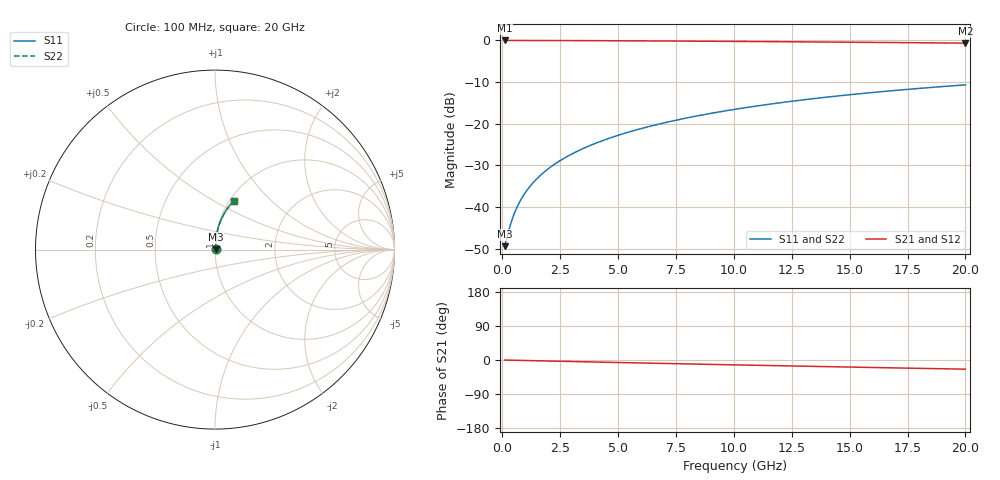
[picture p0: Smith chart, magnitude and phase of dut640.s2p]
! Touchstone file exported from HFSS 2024.1.0
!  File:  C:/UserFiles/LocalFiles/RDL_TSV_Batchsim/temp_RDL_top_640_1779780949.aedt
!  Generated:  03:38:02 PM May 26, 2026
!  Design:  RDL_top
!  Project:  temp_RDL_top_640_1779780949
!  Setup:  Setup1
!  Solution:  Sweep
! Variables:
!  dtsv = 10.80580581um
!  hbump = 3um
!  htsv = 81.32um
!  ldown = 100um
!  lrdl = 268.48um
!  p = 40
!  p1 = 52.06um
!  rhole = 1um
!  t = 450um
!  tdown = 3.915915916um
!  trdl = 2.07um
!  wdown = 15.38538539um
!  wrdl = 16.94um
# GHz S MA R 50.000000
! Terminal data exported
! Port[1] = Box2_T1
! Port[2] = Box2_T2
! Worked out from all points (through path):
!   200 points, 100 MHz to 20 GHz, reference 50 ohm
!   highest |S21| = -0.03 dB at 100 MHz (marker M1); lowest = -0.7 dB at 20 GHz (marker M2)
!   group delay of S21, straight-line fit = 3.35 ps
!   lowest |S11| = -49.4 dB at 100 MHz (marker M3), VSWR 1.01, Z = 50.3 + j0.152 ohm
!   |S11| at or under -10 dB: start of sweep to end of sweep
!   |S22| runs from -49.4 to -10.7 dB; largest |S21 - S12| = 4.3e-15
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0.1  0.003397 26.4  0.997 -0.1  0.997 -0.1  0.003397 26.4
! Gamma 0 0 0 0
! Port Impedance 50 0 50 0
0.3  0.005487 55.1  0.9968 -0.4  0.9968 -0.4  0.005487 55.1
0.4  0.006779 61.8  0.9968 -0.6  0.9968 -0.6  0.006779 61.8
0.5  0.008121 66.2  0.9967 -0.7  0.9967 -0.7  0.008121 66.2
0.6  0.009484 69.3  0.9966 -0.8  0.9966 -0.8  0.009484 69.3
0.7  0.01086 71.6  0.9965 -1.0  0.9965 -1.0  0.01086 71.6
0.9  0.01362 74.8  0.9963 -1.2  0.9963 -1.2  0.01362 74.8
1.2  0.01778 77.8  0.9959 -1.6  0.9959 -1.6  0.01778 77.8
1.4  0.02057 79.1  0.9957 -1.9  0.9957 -1.9  0.02057 79.1
1.7  0.02478 80.6  0.9953 -2.3  0.9953 -2.3  0.02478 80.6
2.2  0.03185 82.0  0.9947 -3.0  0.9947 -3.0  0.03185 82.0
2.8  0.04042 83.0  0.9937 -3.8  0.9937 -3.8  0.04042 83.0
3.5  0.05053 83.6  0.9923 -4.7  0.9923 -4.7  0.05053 83.6
4.2  0.06074 83.8  0.9907 -5.6  0.9907 -5.6  0.06074 83.8
5  0.07255 83.7  0.9886 -6.6  0.9886 -6.6  0.07255 83.7
5.9  0.08598 83.3  0.986 -7.8  0.986 -7.8  0.08598 83.3
6.8  0.09954 82.8  0.9831 -8.9  0.9831 -8.9  0.09954 82.8
8.4  0.1238 81.5  0.9775 -10.9  0.9775 -10.9  0.1238 81.5
10.1  0.1497 79.9  0.9711 -13.0  0.9711 -13.0  0.1497 79.9
13.4  0.1993 76.3  0.9573 -16.8  0.9573 -16.8  0.1993 76.3
16.7  0.2471 72.6  0.9422 -20.6  0.9422 -20.6  0.2471 72.5
20  0.2924 68.8  0.9261 -24.2  0.9261 -24.2  0.2924 68.8
